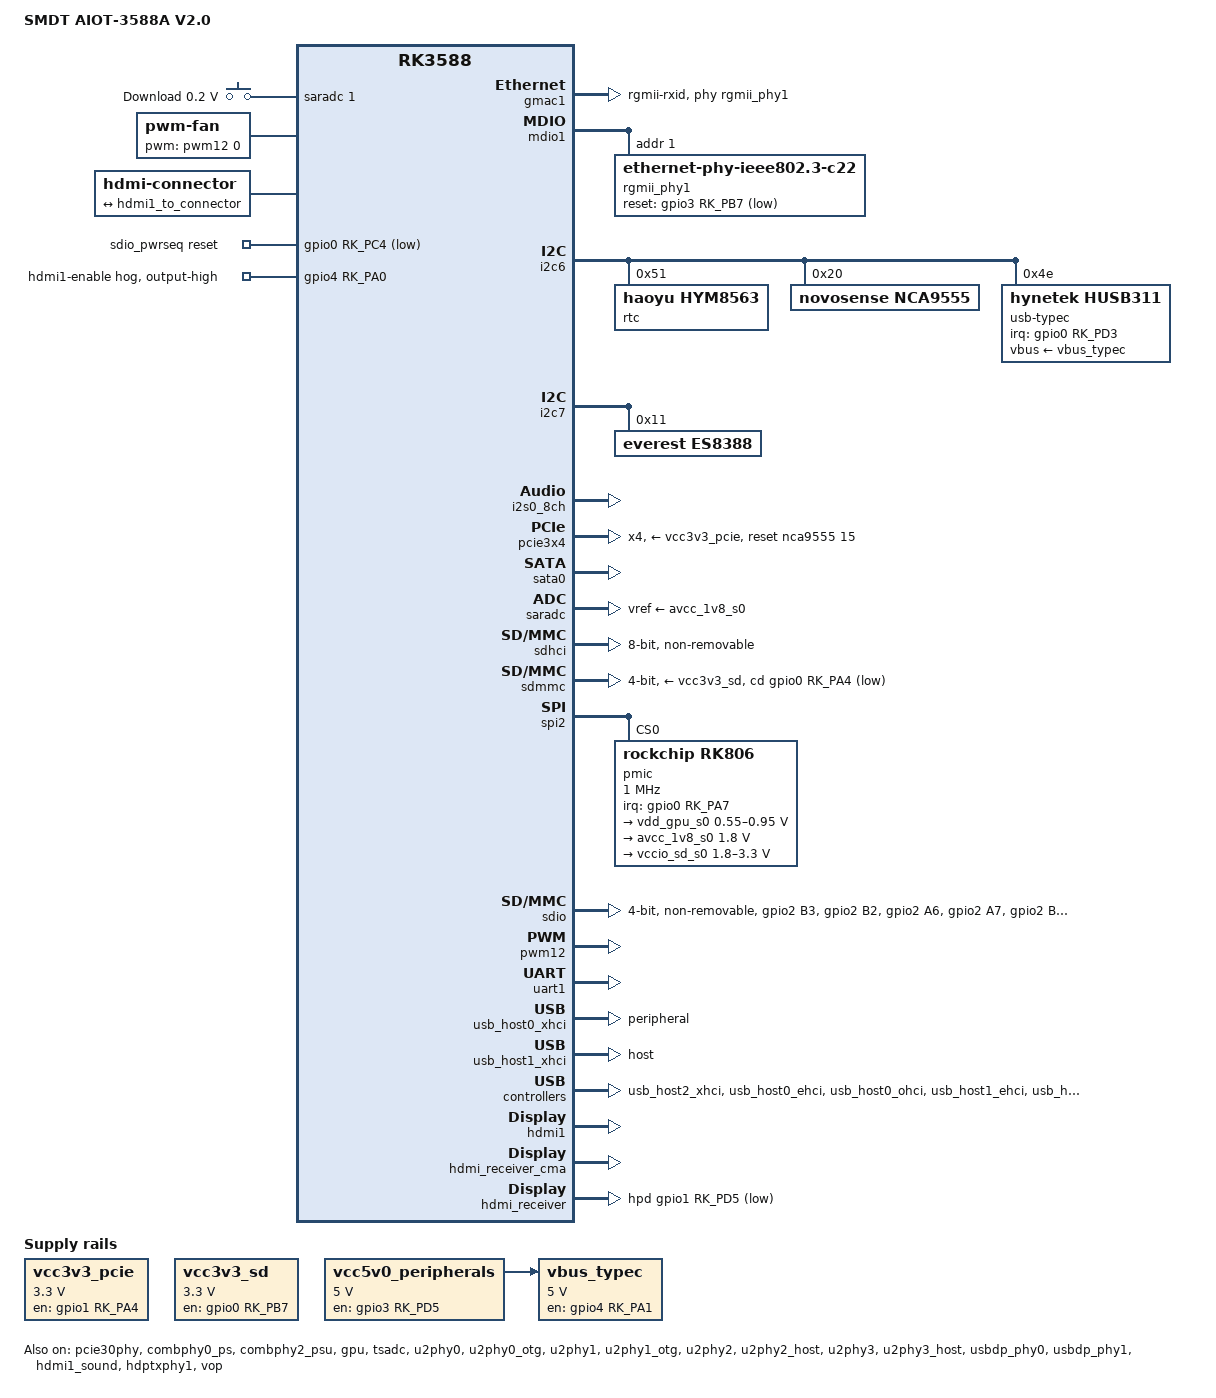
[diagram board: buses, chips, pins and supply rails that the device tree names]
// SPDX-License-Identifier: (GPL-2.0+ OR MIT)
/dts-v1/;

#include <dt-bindings/gpio/gpio.h>
#include <dt-bindings/input/input.h>
#include <dt-bindings/interrupt-controller/irq.h>
#include <dt-bindings/pwm/pwm.h>
#include <dt-bindings/pinctrl/rockchip.h>
#include <dt-bindings/soc/rockchip,vop2.h>
#include "rk3588.dtsi"

/ {
	model = "SMDT AIOT-3588A V2.0";
	compatible = "smdt,aiot-3588a2", "rockchip,rk3588";

	aliases {
		ethernet0 = &gmac1;
		mmc0 = &sdhci;
		mmc1 = &sdmmc;
	};

	chosen {
		stdout-path = "serial1:1500000n8";
	};

	adc-keys {
		compatible = "adc-keys";
		io-channels = <&saradc 1>;
		io-channel-names = "buttons";
		keyup-threshold-microvolt = <1800000>;
		poll-interval = <100>;

		download-key {
			label = "Download";
			linux,code = <KEY_RESTART>;
			press-threshold-microvolt = <200000>;
		};
	};

	fan: pwm-fan {
		compatible = "pwm-fan";
		#cooling-cells = <2>;
		pwms = <&pwm12 0 50000 PWM_POLARITY_INVERTED>;
		cooling-levels = <0 102 170 230>;
	};

	hdmi-connector {
		compatible = "hdmi-connector";
		type = "a";

		port {
			hdmi1_connector: endpoint {
				remote-endpoint = <&hdmi1_to_connector>;
			};
		};
	};

	sound {
		compatible = "simple-audio-card";
		simple-audio-card,name = "ES8388";
		simple-audio-card,format = "i2s";
		simple-audio-card,mclk-fs = <256>;
		simple-audio-card,cpu {
			sound-dai = <&i2s0_8ch>;
		};
		simple-audio-card,codec {
			sound-dai = <&es8388>;
		};
	};

	sdio_pwrseq: mmc-pwrseq {
		compatible = "mmc-pwrseq-simple";
		clocks = <&rtc>;
		clock-names = "ext_clock";
		post-power-on-delay-ms = <200>;
		reset-gpios = <&gpio0 RK_PC4 GPIO_ACTIVE_LOW>;
	};

	vcc3v3_pcie: regulator-vcc3v3-pcie {
		compatible = "regulator-fixed";
		regulator-name = "vcc3v3_pcie30";
		regulator-min-microvolt = <3300000>;
		regulator-max-microvolt = <3300000>;
		gpio = <&gpio1 RK_PA4 GPIO_ACTIVE_HIGH>;
		enable-active-high;
		startup-delay-us = <5000>;
	};

	vcc3v3_sd: regulator-vcc3v3-sd {
		compatible = "regulator-fixed";
		regulator-name = "vcc_3v3_sd_s0";
		regulator-min-microvolt = <3300000>;
		regulator-max-microvolt = <3300000>;
		gpio = <&gpio0 RK_PB7 GPIO_ACTIVE_HIGH>;
		enable-active-high;
	};

	vcc5v0_peripherals: regulator-vcc5v0-peripherals {
		compatible = "regulator-fixed";
		regulator-name = "vcc5v0_peripherals";
		regulator-min-microvolt = <5000000>;
		regulator-max-microvolt = <5000000>;
		gpio = <&gpio3 RK_PD5 GPIO_ACTIVE_HIGH>;
		enable-active-high;
		regulator-always-on;
		regulator-boot-on;
	};

	vbus_typec: regulator-vbus-typec {
		compatible = "regulator-fixed";
		regulator-name = "vbus_typec";
		regulator-min-microvolt = <5000000>;
		regulator-max-microvolt = <5000000>;
		gpio = <&gpio4 RK_PA1 GPIO_ACTIVE_HIGH>;
		enable-active-high;
		vin-supply = <&vcc5v0_peripherals>;
	};
};

&gmac1 {
	clock_in_out = "output";
	phy-handle = <&rgmii_phy1>;
	phy-mode = "rgmii-rxid";
	pinctrl-names = "default";
	pinctrl-0 = <&gmac1_miim &gmac1_tx_bus2 &gmac1_rx_bus2
		     &gmac1_rgmii_clk &gmac1_rgmii_bus>;
	tx_delay = <0x43>;
	status = "okay";
};

&mdio1 {
	rgmii_phy1: ethernet-phy@1 {
		compatible = "ethernet-phy-ieee802.3-c22";
		reg = <1>;
		reset-gpios = <&gpio3 RK_PB7 GPIO_ACTIVE_LOW>;
		reset-assert-us = <20000>;
		reset-deassert-us = <100000>;
	};
};

&i2c6 {
	pinctrl-names = "default";
	pinctrl-0 = <&i2c6m0_xfer>;
	status = "okay";

	rtc: rtc@51 {
		compatible = "haoyu,hym8563";
		reg = <0x51>;
		#clock-cells = <0>;
		clock-output-names = "rtc-clkout";
		wakeup-source;
	};

	nca9555: gpio@20 {
		compatible = "novosense,nca9555", "nxp,pca9555";
		reg = <0x20>;
		gpio-controller;
		#gpio-cells = <2>;
	};

	usb-typec@4e {
		compatible = "hynetek,husb311", "richtek,rt1711h";
		reg = <0x4e>;
		interrupt-parent = <&gpio0>;
		interrupts = <RK_PD3 IRQ_TYPE_LEVEL_LOW>;
		vbus-supply = <&vbus_typec>;

		connector {
			compatible = "usb-c-connector";
			label = "USB-C";
			power-role = "sink";
			data-role = "device";
		};
	};
};

&i2c7 {
	pinctrl-names = "default";
	pinctrl-0 = <&i2c7m0_xfer>;
	status = "okay";

	es8388: audio-codec@11 {
		compatible = "everest,es8388";
		reg = <0x11>;
		#sound-dai-cells = <0>;
	};
};

&i2s0_8ch {
	pinctrl-names = "default";
	pinctrl-0 = <&i2s0_lrck &i2s0_sclk &i2s0_sdi0 &i2s0_sdo0>;
	status = "okay";
};

&pcie30phy {
	status = "okay";
};

&pcie3x4 {
	num-lanes = <4>;
	reset-gpios = <&nca9555 15 GPIO_ACTIVE_HIGH>;
	vpcie3v3-supply = <&vcc3v3_pcie>;
	status = "okay";
};

&combphy0_ps {
	assigned-clocks = <&cru CLK_REF_PIPE_PHY0>;
	assigned-clock-rates = <100000000>;
	status = "okay";
};

&combphy2_psu {
	status = "okay";
};

&sata0 {
	status = "okay";
};

&saradc {
	vref-supply = <&avcc_1v8_s0>;
	status = "okay";
};

&sdhci {
	bus-width = <8>;
	mmc-hs400-1_8v;
	mmc-hs400-enhanced-strobe;
	no-sd;
	no-sdio;
	non-removable;
	status = "okay";
};

&sdmmc {
	bus-width = <4>;
	cap-sd-highspeed;
	cd-gpios = <&gpio0 RK_PA4 GPIO_ACTIVE_LOW>;
	disable-wp;
	no-mmc;
	no-sdio;
	pinctrl-names = "default";
	pinctrl-0 = <&sdmmc_bus4 &sdmmc_clk &sdmmc_cmd>;
	sd-uhs-sdr104;
	vmmc-supply = <&vcc3v3_sd>;
	vqmmc-supply = <&vccio_sd_s0>;
	status = "okay";
};

&spi2 {
	pinctrl-names = "default";
	pinctrl-0 = <&spi2m2_cs0 &spi2m2_pins>;
	status = "okay";

	pmic@0 {
		compatible = "rockchip,rk806";
		reg = <0>;
		spi-max-frequency = <1000000>;
		interrupt-parent = <&gpio0>;
		interrupts = <RK_PA7 IRQ_TYPE_LEVEL_LOW>;
		pinctrl-names = "default";
		pinctrl-0 = <&pmic_int>;
		system-power-controller;

		regulators {
			vdd_gpu_s0: dcdc-reg1 {
				regulator-name = "vdd_gpu_s0";
				regulator-min-microvolt = <550000>;
				regulator-max-microvolt = <950000>;
				regulator-ramp-delay = <12500>;
				regulator-boot-on;
			};

			avcc_1v8_s0: pldo-reg1 {
				regulator-name = "avcc_1v8_s0";
				regulator-min-microvolt = <1800000>;
				regulator-max-microvolt = <1800000>;
				regulator-always-on;
			};

			vccio_sd_s0: pldo-reg5 {
				regulator-name = "vccio_sd_s0";
				regulator-min-microvolt = <1800000>;
				regulator-max-microvolt = <3300000>;
			};
		};
	};
};

&sdio {
	bus-width = <4>;
	disable-wp;
	cap-sdio-irq;
	keep-power-in-suspend;
	mmc-pwrseq = <&sdio_pwrseq>;
	no-mmc;
	no-sd;
	non-removable;
	pinctrl-names = "default";
	pinctrl-0 = <&wifi_sdio_m0>;
	sd-uhs-sdr104;
	status = "okay";
};

&pinctrl {
	pmic {
		pmic_int: pmic-int {
			rockchip,pins = <0 RK_PA7 RK_FUNC_GPIO &pcfg_pull_up>;
		};
	};

	sdio {
		wifi_sdio_m0: wifi-sdio-m0 {
			rockchip,pins = <2 RK_PB3 2 &pcfg_pull_none>,
					<2 RK_PB2 2 &pcfg_pull_up>,
					<2 RK_PA6 2 &pcfg_pull_up>,
					<2 RK_PA7 2 &pcfg_pull_up>,
					<2 RK_PB0 2 &pcfg_pull_up>,
					<2 RK_PB1 2 &pcfg_pull_up>;
		};
	};
};

&gpu {
	mali-supply = <&vdd_gpu_s0>;
	status = "okay";
};

&pwm12 {
	pinctrl-names = "default";
	pinctrl-0 = <&pwm12m1_pins>;
	status = "okay";
};

&package_thermal {
	trips {
		fan_warm: fan-warm {
			temperature = <50000>;
			hysteresis = <3000>;
			type = "active";
		};
		fan_hot: fan-hot {
			temperature = <60000>;
			hysteresis = <3000>;
			type = "active";
		};
		fan_high: fan-high {
			temperature = <70000>;
			hysteresis = <3000>;
			type = "active";
		};
	};

	cooling-maps {
		fan-map-warm {
			trip = <&fan_warm>;
			cooling-device = <&fan 1 1>;
		};
		fan-map-hot {
			trip = <&fan_hot>;
			cooling-device = <&fan 2 2>;
		};
		fan-map-high {
			trip = <&fan_high>;
			cooling-device = <&fan 3 3>;
		};
	};
};

&tsadc {
	status = "okay";
};

&uart1 {
	pinctrl-names = "default";
	pinctrl-0 = <&uart1m1_xfer>;
	status = "okay";
};

&u2phy0 { status = "okay"; };
&u2phy0_otg { status = "okay"; };
&u2phy1 { status = "okay"; };
&u2phy1_otg { status = "okay"; };
&u2phy2 { status = "okay"; };
&u2phy2_host { status = "okay"; };
&u2phy3 { status = "okay"; };
&u2phy3_host { status = "okay"; };
&usbdp_phy0 { status = "okay"; };
&usbdp_phy1 { status = "okay"; };

&usb_host0_xhci {
	dr_mode = "peripheral";
	status = "okay";
};

&usb_host1_xhci {
	dr_mode = "host";
	status = "okay";
};

&usb_host2_xhci { status = "okay"; };
&usb_host0_ehci { status = "okay"; };
&usb_host0_ohci { status = "okay"; };
&usb_host1_ehci { status = "okay"; };
&usb_host1_ohci { status = "okay"; };

&gpio4 {
	hdmi1-enable-hog {
		gpio-hog;
		gpios = <RK_PA0 GPIO_ACTIVE_HIGH>;
		output-high;
		line-name = "hdmi1-enable";
	};
};

&hdmi1 {
	pinctrl-names = "default";
	pinctrl-0 = <&hdmim2_tx1_cec &hdmim0_tx1_hpd
		     &hdmim1_tx1_scl &hdmim1_tx1_sda>;
	status = "okay";
};

&hdmi1_in {
	hdmi1_from_vp1: endpoint {
		remote-endpoint = <&vp1_to_hdmi1>;
	};
};

&hdmi1_out {
	hdmi1_to_connector: endpoint {
		remote-endpoint = <&hdmi1_connector>;
	};
};

&hdmi1_sound { status = "okay"; };
&hdptxphy1 { status = "okay"; };
&vop { status = "okay"; };
&vop_mmu { status = "okay"; };

&hdmi_receiver_cma {
	/delete-property/ no-map;
	alignment = <0 0x800000>;
	reusable;
	status = "okay";
};

&hdmi_receiver {
	hpd-gpios = <&gpio1 RK_PD5 GPIO_ACTIVE_LOW>;
	pinctrl-names = "default";
	pinctrl-0 = <&hdmim1_rx_cec &hdmim1_rx_hpdin
		     &hdmim1_rx_scl &hdmim1_rx_sda>;
	status = "okay";
};

&vp1 {
	vp1_to_hdmi1: endpoint@ROCKCHIP_VOP2_EP_HDMI1 {
		reg = <ROCKCHIP_VOP2_EP_HDMI1>;
		remote-endpoint = <&hdmi1_from_vp1>;
	};
};
